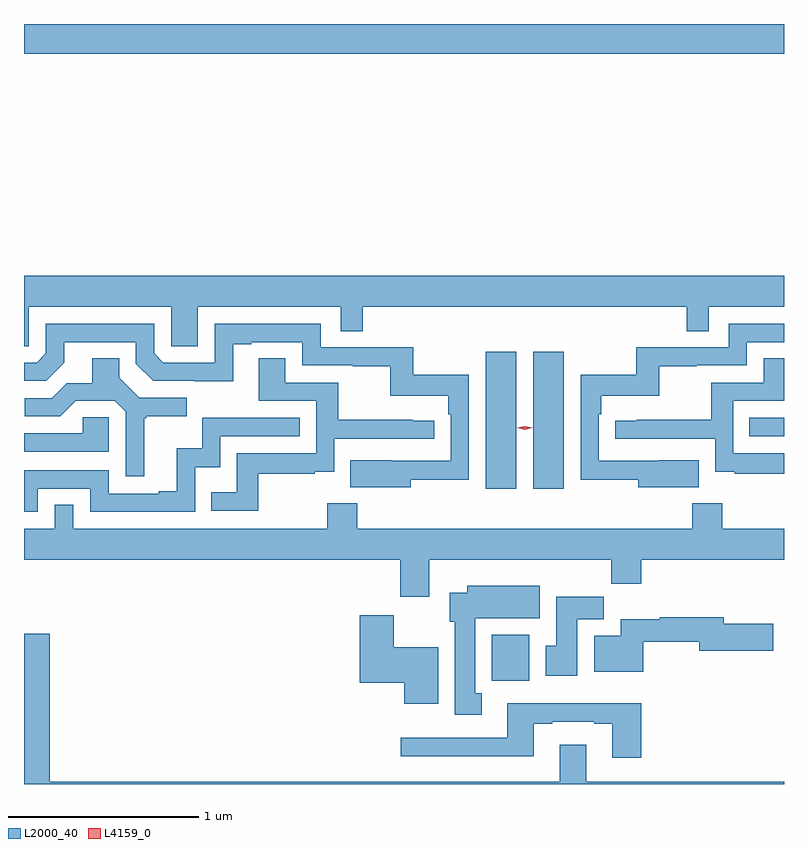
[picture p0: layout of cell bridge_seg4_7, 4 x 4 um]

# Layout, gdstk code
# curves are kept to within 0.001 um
import gdstk
lib = gdstk.Library(unit=1e-6, precision=1e-09)
def R(c, l, rs):  # rectangles x0, y0, x1, y1
    for r in rs: c.add(gdstk.rectangle(r[:2], r[2:], *l))
def P(c, l, *ps):  # polygons
    for p in ps: c.add(gdstk.Polygon(p, *l))
L2000_40 = (2000, 40)
L4159_0 = (4159, 0)

bridge_seg4_7 = lib.new_cell('bridge_seg4_7')
R(bridge_seg4_7, L2000_40, [(1032.05,810.836,1032.247,811.078), (1032.017,811.848,1032.178,812.569), (1032.266,811.848,1032.427,812.569), (1033.405,812.124,1033.587,812.22), (1029.587,814.136,1033.587,814.293)])
P(bridge_seg4_7, L2000_40, [(1029.612,812.804),(1030.362,812.804),(1030.362,812.596),(1030.501,812.596),(1030.501,812.804),(1031.253,812.804),(1031.253,812.677),(1031.369,812.677),(1031.369,812.804),(1033.075,812.804),(1033.075,812.677),(1033.191,812.677),(1033.191,812.804),(1033.587,812.804),(1033.587,812.968),(1029.587,812.968),(1029.587,812.596),(1029.612,812.596)],
  [(1033.139,811.996),(1032.925,811.996),(1032.925,811.995),(1032.612,811.995),(1032.612,812.24),(1032.626,812.24),(1032.626,812.336),(1032.93,812.336),(1032.93,812.491),(1033.127,812.491),(1033.127,812.496),(1033.392,812.496),(1033.392,812.619),(1033.587,812.619),(1033.587,812.715),(1033.296,812.715),(1033.296,812.592),(1032.81,812.592),(1032.81,812.446),(1032.516,812.446),(1032.516,811.894),(1032.821,811.894),(1032.821,811.856),(1033.139,811.856)],
  [(1031.623,811.894),(1031.928,811.894),(1031.928,812.446),(1031.635,812.446),(1031.635,812.592),(1031.148,812.592),(1031.148,812.715),(1030.59,812.715),(1030.59,812.511),(1030.32,812.511),(1030.272,812.559),(1030.272,812.715),(1029.702,812.715),(1029.702,812.559),(1029.654,812.511),(1029.587,812.511),(1029.587,812.415),(1029.705,812.415),(1029.799,812.509),(1029.799,812.619),(1030.176,812.619),(1030.176,812.505),(1030.266,812.415),(1030.687,812.414),(1030.687,812.607),(1030.783,812.607),(1030.783,812.619),(1031.052,812.619),(1031.052,812.496),(1031.317,812.496),(1031.317,812.491),(1031.514,812.491),(1031.514,812.336),(1031.819,812.336),(1031.819,812.24),(1031.832,812.24),(1031.832,811.995),(1031.305,811.996),(1031.305,811.856),(1031.623,811.856)],
  [(1033.587,812.034),(1033.32,812.034),(1033.32,812.31),(1033.587,812.31),(1033.587,812.534),(1033.481,812.534),(1033.481,812.406),(1033.204,812.406),(1033.204,812.21),(1032.811,812.21),(1032.811,812.205),(1032.699,812.205),(1032.699,812.109),(1033.224,812.109),(1033.224,811.937),(1033.327,811.937),(1033.327,811.926),(1033.587,811.926)],
  [(1030.819,811.926),(1031.117,811.926),(1031.117,811.937),(1031.22,811.937),(1031.22,812.109),(1031.746,812.109),(1031.746,812.205),(1031.633,812.205),(1031.633,812.21),(1031.24,812.21),(1031.24,812.406),(1030.963,812.406),(1030.963,812.534),(1030.823,812.534),(1030.823,812.31),(1031.124,812.31),(1031.124,812.034),(1030.708,812.034),(1030.708,811.828),(1030.573,811.828),(1030.573,811.731),(1030.819,811.731)],
  [(1030.219,812.217),(1030.231,812.217),(1030.231,812.228),(1030.444,812.228),(1030.444,812.325),(1030.194,812.325),(1030.087,812.432),(1030.087,812.534),(1029.947,812.534),(1029.947,812.402),(1029.812,812.402),(1029.732,812.322),(1029.591,812.322),(1029.591,812.229),(1029.778,812.229),(1029.859,812.31),(1030.065,812.31),(1030.122,812.253),(1030.122,811.914),(1030.219,811.914)],
  [(1030.032,812.223),(1029.895,812.223),(1029.895,812.139),(1029.587,812.139),(1029.587,812.043),(1030.032,812.043)],
  [(1029.66,811.848),(1029.936,811.848),(1029.936,811.725),(1030.488,811.725),(1030.488,811.961),(1030.62,811.961),(1030.62,812.124),(1031.039,812.124),(1031.039,812.22),(1030.524,812.22),(1030.524,812.059),(1030.391,812.059),(1030.391,811.834),(1030.295,811.834),(1030.295,811.821),(1030.032,811.821),(1030.032,811.944),(1029.587,811.944),(1029.587,811.725),(1029.66,811.725)],
  [(1031.719,811.472),(1032.679,811.472),(1032.679,811.348),(1032.836,811.348),(1032.836,811.472),(1033.587,811.472),(1033.587,811.636),(1033.263,811.636),(1033.263,811.771),(1033.103,811.771),(1033.103,811.636),(1031.342,811.636),(1031.342,811.771),(1031.182,811.771),(1031.182,811.636),(1029.846,811.636),(1029.846,811.763),(1029.75,811.763),(1029.75,811.636),(1029.587,811.636),(1029.587,811.472),(1031.567,811.472),(1031.567,811.278),(1031.719,811.278)],
  [(1031.995,810.77),(1031.962,810.77),(1031.962,811.166),(1032.301,811.166),(1032.301,811.336),(1031.921,811.336),(1031.921,811.3),(1031.828,811.3),(1031.828,811.146),(1031.855,811.146),(1031.855,810.657),(1031.995,810.657)],
  [(1032.499,811.16),(1032.638,811.16),(1032.638,811.278),(1032.389,811.278),(1032.389,811.02),(1032.332,811.02),(1032.332,810.864),(1032.499,810.864)],
  [(1031.767,811.012),(1031.532,811.012),(1031.532,811.18),(1031.353,811.18),(1031.353,810.827),(1031.588,810.827),(1031.588,810.716),(1031.767,810.716)],
  [(1032.846,811.042),(1033.142,811.042),(1033.142,810.995),(1033.531,810.995),(1033.531,811.137),(1033.27,811.137),(1033.27,811.171),(1032.934,811.171),(1032.934,811.16),(1032.728,811.16),(1032.728,811.072),(1032.587,811.072),(1032.587,810.884),(1032.846,810.884)],
  [(1033.587,810.304),(1032.547,810.304),(1032.547,810.499),(1032.407,810.499),(1032.407,810.304),(1029.722,810.304),(1029.722,811.084),(1029.587,811.084),(1029.587,810.293),(1033.587,810.293)],
  [(1032.836,810.718),(1032.131,810.718),(1032.131,810.537),(1031.571,810.537),(1031.571,810.44),(1032.271,810.44),(1032.271,810.609),(1032.367,810.609),(1032.367,810.621),(1032.587,810.621),(1032.587,810.609),(1032.683,810.609),(1032.683,810.432),(1032.836,810.432)])
P(bridge_seg4_7, L4159_0, [(1032.222,812.157),(1032.182,812.167),(1032.182,812.167),(1032.182,812.167),(1032.222,812.177),(1032.262,812.167),(1032.262,812.167),(1032.262,812.167)])

lib.write_gds('bridge_seg4_7.gds')
